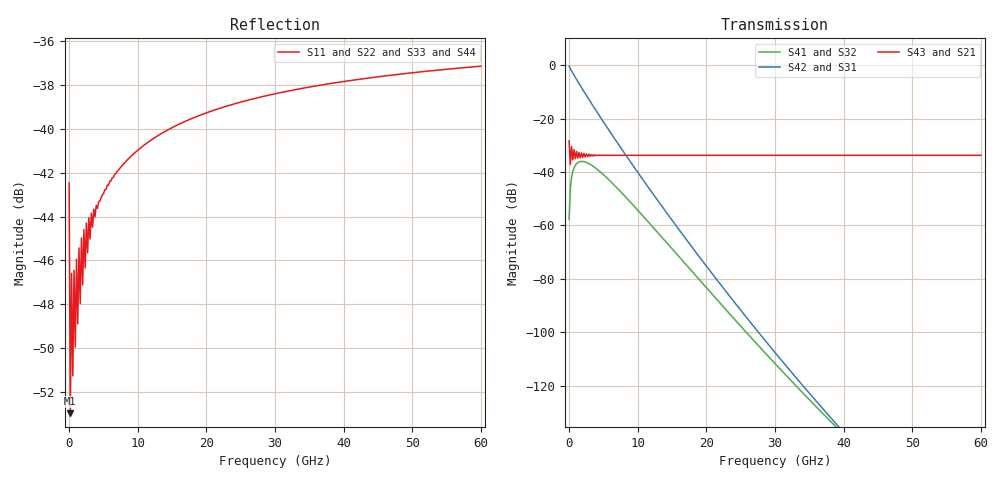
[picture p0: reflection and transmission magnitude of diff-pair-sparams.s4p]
! Touchstone file exported from 2D Extractor 2022.2.0
!  File:  C:/Users/dkcdn/Desktop/Davit/rlcg2s python/Ansys verification/Project/diff_stripline.aedt
!  Generated:  4:34:08 PM  Oct 03, 2024
!  Design:  2DExtractorDesign1
!  Project:  diff_stripline
!  Setup:  Setup1
!  Solution:  Sweep2
!  Reduce Matrix:  Original
# GHz S MA R 50.000000
! Terminal data exported
! Port[1] = Negative_A
! Port[2] = Positive_A
! Port[3] = Negative_B
! Port[4] = Positive_B
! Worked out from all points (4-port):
!   335 points, 40 MHz to 60 GHz, reference 50 ohm
!   strongest paths, dB at 40 MHz, 14.94 GHz, 30.02 GHz, 45.1 GHz, 60 GHz:
!     S43: -28.4, -33.7, -33.7, -33.7, -33.7
!     S21: -28.4, -33.7, -33.7, -33.7, -33.7
!     S42: -0.3, -57.7, -107.6, -151.8, -191.0
!     S31: -0.3, -57.7, -107.6, -151.8, -190.9
!     S41: -57.7, -68.5, -111.7, -151.0, -185.1
!     S32: -57.7, -68.5, -111.7, -151.0, -185.1
!   lowest |S11| = -53.0 dB at 219.5 MHz (marker M1), VSWR 1.00, Z = 49.8 - j0.0204 ohm
!   |S11| at or under -10 dB: start of sweep to end of sweep
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0.04  0.007522 -175.9  0.03823 -13.3  0.9607 -104.1  0.001298 -40.7
      0.03823 -13.3  0.007456 -176.1  0.001298 -40.7  0.9608 -104.1
      0.9607 -104.1  0.001298 -40.7  0.007522 -175.9  0.03823 -13.3
      0.001298 -40.7  0.9608 -104.1  0.03823 -13.3  0.007456 -176.1
0.219521  0.002249 -174.8  0.01393 48.0  0.8619 158.7  0.005109 -119.6
          0.01393 48.0  0.002228 -175.4  0.005109 -119.6  0.8619 158.6
          0.8619 158.7  0.005109 -119.6  0.002249 -174.8  0.01393 48.0
          0.005109 -119.6  0.8619 158.6  0.01393 48.0  0.002228 -175.4
0.5785629  0.002736 130.2  0.01683 30.3  0.7122 -27.3  0.0103 54.7
           0.01683 30.3  0.002731 129.5  0.0103 54.7  0.7118 -27.4
           0.7122 -27.3  0.0103 54.7  0.002736 130.2  0.01683 30.3
           0.0103 54.7  0.7118 -27.4  0.01683 30.3  0.002731 129.5
0.9376048  0.003181 101.1  0.01779 20.1  0.5943 151.1  0.01336 -127.1
           0.01779 20.1  0.003189 100.5  0.01336 -127.1  0.5939 150.9
           0.5943 151.1  0.01336 -127.1  0.003181 101.1  0.01779 20.1
           0.01336 -127.1  0.5939 150.9  0.01779 20.1  0.003189 100.5
1.296647  0.003595 82.4  0.01821 13.3  0.498 -28.0  0.01502 53.8
          0.01821 13.3  0.003611 82.0  0.01502 53.8  0.4976 -28.3
          0.498 -28.0  0.01502 53.8  0.003595 82.4  0.01821 13.3
          0.01502 53.8  0.4976 -28.3  0.01821 13.3  0.003611 82.0
21.40299  0.01105 24.4  0.02059 0.0  0.0001018 33.1  4.304e-05 117.5
          0.02059 0.0  0.01109 24.4  4.304e-05 117.5  0.0001019 28.9
          0.0001018 33.1  4.304e-05 117.5  0.01105 24.4  0.02059 0.0
          4.304e-05 117.5  0.0001019 28.9  0.02059 0.0  0.01109 24.4
60  0.01388 16.7  0.02059 0.0  2.851e-10 -48.1  5.541e-10 27.8
    0.02059 0.0  0.01391 16.7  5.541e-10 27.8  2.813e-10 -68.0
    2.851e-10 -48.1  5.541e-10 27.8  0.01388 16.7  0.02059 0.0
    5.541e-10 27.8  2.813e-10 -68.0  0.02059 0.0  0.01391 16.7
